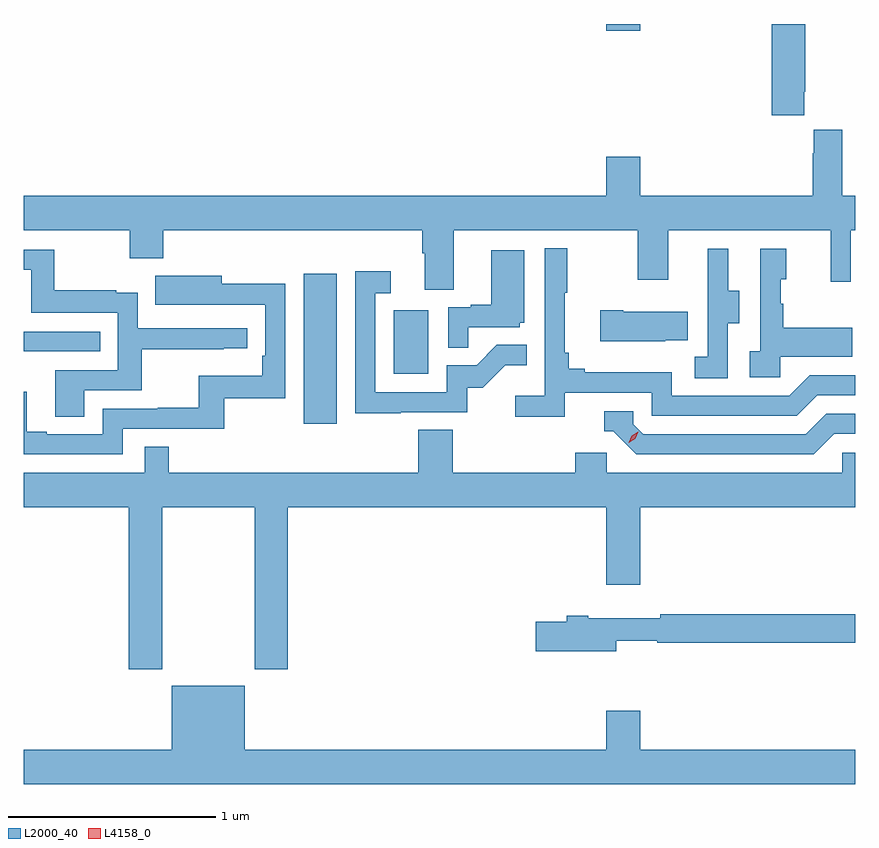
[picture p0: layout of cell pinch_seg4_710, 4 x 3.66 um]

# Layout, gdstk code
import gdstk
lib = gdstk.Library(unit=1e-6, precision=1e-09)
def R(c, l, rs):  # rectangles x0, y0, x1, y1
    for r in rs: c.add(gdstk.rectangle(r[:2], r[2:], *l))
def P(c, l, *ps):  # polygons
    for p in ps: c.add(gdstk.Polygon(p, *l))
L2000_40 = (2000, 40)
L4158_0 = (4158, 0)

pinch_seg4_710 = lib.new_cell('pinch_seg4_710')
R(pinch_seg4_710, L2000_40, [(846.869,821.196,847.03,821.917), (847.304,821.436,847.468,821.743), (845.523,821.544,845.891,821.64), (848.324,823.086,848.488,823.119)])
P(pinch_seg4_710, L2000_40, [(849.277,822.793),(849.282,822.793),(849.282,823.119),(849.122,823.119),(849.122,822.681),(849.277,822.681)],
  [(847.591,822.128),(848.476,822.128),(848.476,821.889),(848.623,821.889),(848.623,822.128),(849.404,822.128),(849.404,821.88),(849.501,821.88),(849.501,822.128),(849.523,822.128),(849.523,822.292),(849.46,822.292),(849.46,822.61),(849.323,822.61),(849.323,822.497),(849.317,822.497),(849.317,822.292),(848.488,822.292),(848.488,822.481),(848.324,822.481),(848.324,822.292),(845.523,822.292),(845.523,822.128),(846.034,822.128),(846.034,821.993),(846.194,821.993),(846.194,822.128),(847.439,822.128),(847.439,822.016),(847.451,822.016),(847.451,821.842),(847.591,821.842)],
  [(848.126,821.346),(848.544,821.346),(848.544,821.235),(849.241,821.235),(849.34,821.334),(849.523,821.334),(849.523,821.43),(849.303,821.43),(849.204,821.331),(848.64,821.331),(848.64,821.443),(848.221,821.443),(848.221,821.462),(848.144,821.462),(848.144,821.539),(848.125,821.539),(848.125,821.827),(848.137,821.827),(848.137,822.04),(848.028,822.04),(848.028,821.332),(847.887,821.332),(847.887,821.23),(848.126,821.23)],
  [(849.162,821.519),(849.509,821.519),(849.509,821.659),(849.175,821.659),(849.175,821.774),(849.165,821.774),(849.165,821.892),(849.19,821.892),(849.19,822.037),(849.066,822.037),(849.066,821.546),(849.015,821.546),(849.015,821.421),(849.162,821.421)],
  [(848.91,821.68),(848.965,821.68),(848.965,821.835),(848.911,821.835),(848.911,822.037),(848.813,822.037),(848.813,821.823),(848.814,821.823),(848.814,821.519),(848.751,821.519),(848.751,821.416),(848.91,821.416)],
  [(845.815,821.358),(846.092,821.358),(846.092,821.554),(846.485,821.554),(846.485,821.559),(846.598,821.559),(846.598,821.655),(846.072,821.655),(846.072,821.827),(845.969,821.827),(845.969,821.839),(845.671,821.839),(845.671,822.033),(845.523,822.033),(845.523,821.936),(845.56,821.936),(845.56,821.73),(845.976,821.73),(845.976,821.454),(845.675,821.454),(845.675,821.23),(845.815,821.23)],
  [(847.661,821.661),(847.908,821.661),(847.908,821.682),(847.93,821.682),(847.93,822.031),(847.772,822.031),(847.772,821.77),(847.673,821.77),(847.673,821.757),(847.566,821.757),(847.566,821.563),(847.661,821.563)],
  [(847.337,821.253),(847.656,821.253),(847.656,821.37),(847.732,821.37),(847.839,821.477),(847.943,821.477),(847.943,821.576),(847.799,821.576),(847.701,821.478),(847.557,821.478),(847.557,821.349),(847.215,821.349),(847.215,821.823),(847.288,821.823),(847.288,821.929),(847.119,821.929),(847.119,821.248),(847.337,821.248)],
  [(846,821.172),(846.487,821.172),(846.487,821.319),(846.78,821.319),(846.78,821.87),(846.475,821.87),(846.475,821.908),(846.157,821.908),(846.157,821.768),(846.371,821.768),(846.371,821.769),(846.684,821.769),(846.684,821.524),(846.671,821.524),(846.671,821.428),(846.366,821.428),(846.366,821.273),(846.169,821.273),(846.169,821.268),(845.904,821.268),(845.904,821.145),(845.635,821.145),(845.635,821.158),(845.539,821.158),(845.539,821.351),(845.523,821.351),(845.523,821.049),(846,821.049)],
  [(848.609,821.597),(848.717,821.597),(848.717,821.734),(848.407,821.734),(848.407,821.742),(848.295,821.742),(848.295,821.594),(848.609,821.594)],
  [(849.421,821.148),(849.523,821.148),(849.523,821.244),(849.384,821.244),(849.285,821.145),(848.502,821.145),(848.454,821.193),(848.454,821.256),(848.315,821.256),(848.315,821.16),(848.358,821.16),(848.469,821.049),(849.322,821.049)],
  [(846.189,820.796),(846.634,820.796),(846.634,820.017),(846.794,820.017),(846.794,820.796),(848.324,820.796),(848.324,820.422),(848.488,820.422),(848.488,820.796),(849.523,820.796),(849.523,821.058),(849.459,821.058),(849.459,820.96),(848.328,820.96),(848.328,821.058),(848.177,821.058),(848.177,820.96),(847.586,820.96),(847.586,821.168),(847.421,821.168),(847.421,820.96),(846.221,820.96),(846.221,821.087),(846.105,821.087),(846.105,820.96),(845.523,820.96),(845.523,820.796),(846.029,820.796),(846.029,820.017),(846.189,820.017)],
  [(848.374,820.152),(848.57,820.152),(848.57,820.144),(849.523,820.144),(849.523,820.28),(848.584,820.28),(848.584,820.261),(848.239,820.261),(848.239,820.274),(848.135,820.274),(848.135,820.244),(847.986,820.244),(847.986,820.102),(848.374,820.102)],
  [(849.523,819.628),(848.488,819.628),(848.488,819.817),(848.324,819.817),(848.324,819.628),(846.586,819.628),(846.586,819.937),(846.236,819.937),(846.236,819.628),(845.523,819.628),(845.523,819.464),(849.523,819.464)])
P(pinch_seg4_710, L4158_0, [(848.433,821.105),(848.433,821.105),(848.448,821.138),(848.479,821.157),(848.479,821.157),(848.479,821.157),(848.464,821.125),(848.433,821.105)])

lib.write_gds('pinch_seg4_710.gds')
